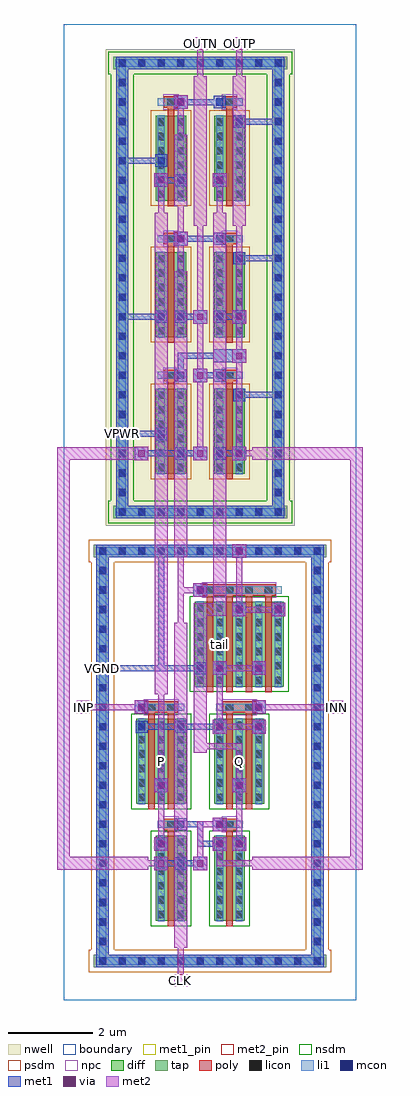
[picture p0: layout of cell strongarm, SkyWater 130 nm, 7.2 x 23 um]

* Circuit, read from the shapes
.subckt strongarm CLK INN INP OUTN OUTP P Q VGND VPWR tail
XM1 P INP tail VGND sky130_fd_pr__nfet_01v8 w=2 l=0.15 m=2
XM2 OUTN OUTP P VGND sky130_fd_pr__nfet_01v8 w=2 l=0.15
XM3 tail CLK VGND VGND sky130_fd_pr__nfet_01v8 w=2 l=0.15 m=4
XM4 Q OUTN OUTP VGND sky130_fd_pr__nfet_01v8 w=2 l=0.15
XM5 Q INN tail VGND sky130_fd_pr__nfet_01v8 w=2 l=0.15 m=2
XM6 OUTN OUTP VPWR VPWR sky130_fd_pr__pfet_01v8 w=2 l=0.15
XM7 OUTN CLK VPWR VPWR sky130_fd_pr__pfet_01v8 w=2 l=0.15
XM8 P CLK VPWR VPWR sky130_fd_pr__pfet_01v8 w=2 l=0.15
XM9 VPWR OUTN OUTP VPWR sky130_fd_pr__pfet_01v8 w=2 l=0.15
XM10 VPWR CLK OUTP VPWR sky130_fd_pr__pfet_01v8 w=2 l=0.15
XM11 VPWR CLK Q VPWR sky130_fd_pr__pfet_01v8 w=2 l=0.15
.ends

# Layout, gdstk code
import gdstk
lib = gdstk.Library(unit=1e-6, precision=1e-09)
def R(c, l, rs):  # rectangles x0, y0, x1, y1
    for r in rs: c.add(gdstk.rectangle(r[:2], r[2:], *l))
def A(c, l, x, y, w, h, nx, ny, dx, dy):  # array of equal rectangles
    R(c, l, [(x+i*dx, y+j*dy, x+i*dx+w, y+j*dy+h) for i in range(nx) for j in range(ny)])
nwell = (64, 20)
diff = (65, 20)
tap = (65, 44)
poly = (66, 20)
licon = (66, 44)
li1 = (67, 20)
mcon = (67, 44)
met1_pin = (68, 16)
met1 = (68, 20)
via = (68, 44)
met2_pin = (69, 16)
met2 = (69, 20)
nsdm = (93, 44)
psdm = (94, 20)
npc = (95, 20)
boundary = (235, 4)

strongarm = lib.new_cell('strongarm')
R(strongarm, nwell, [(0.995,11.175,5.445,22.405)])
A(strongarm, diff, 2.175, 12.4, 0.71, 2, 1, 3, 0, 3.22)
A(strongarm, diff, 3.555, 12.4, 0.71, 2, 1, 3, 0, 3.22)
R(strongarm, diff, [(2.175,1.865,2.885,3.865), (3.555,1.865,4.265,3.865), (1.715,4.625,2.885,6.625), (3.555,4.625,4.725,6.625), (3.095,7.385,5.185,9.385)])
R(strongarm, tap, [(0.715,0.775,6.185,1.065), (0.775,0.775,1.065,10.725), (5.835,0.775,6.125,10.725), (0.715,10.435,6.185,10.725), (1.175,11.355,5.265,11.645), (1.235,11.355,1.525,22.225), (4.915,11.355,5.205,22.225), (1.175,21.935,5.265,22.225)])
A(strongarm, poly, 3.375, 7.255, 0.15, 2.405, 4, 1, 0.46, 0)
A(strongarm, poly, 2.455, 12.27, 0.15, 2.45, 1, 3, 0, 3.22)
A(strongarm, poly, 3.835, 12.27, 0.15, 2.45, 1, 3, 0, 3.22)
A(strongarm, poly, 2.365, 14.585, 0.33, 0.27, 1, 3, 0, 3.22)
A(strongarm, poly, 3.745, 14.585, 0.33, 0.27, 1, 3, 0, 3.22)
R(strongarm, poly, [(2.455,1.735,2.605,4.14), (3.835,1.735,3.985,4.14), (2.365,4.005,2.695,4.275), (3.745,4.005,4.075,4.275), (1.995,4.495,2.145,6.9), (2.455,4.495,2.605,6.9), (3.835,4.495,3.985,6.9), (4.295,4.495,4.445,6.9), (1.905,6.765,2.695,7.035), (3.745,6.765,4.535,7.035), (3.285,9.525,4.995,9.795)])
A(strongarm, licon, 0.835, 0.835, 0.17, 0.17, 12, 2, 0.46, 9.66)
A(strongarm, licon, 0.835, 1.295, 0.17, 0.17, 1, 20, 0, 0.46)
A(strongarm, licon, 5.895, 1.295, 0.17, 0.17, 1, 20, 0, 0.46)
A(strongarm, licon, 2.215, 1.93, 0.17, 0.17, 1, 6, 0, 0.34)
A(strongarm, licon, 2.675, 1.93, 0.17, 0.17, 1, 6, 0, 0.34)
A(strongarm, licon, 3.595, 1.93, 0.17, 0.17, 1, 6, 0, 0.34)
A(strongarm, licon, 4.055, 1.93, 0.17, 0.17, 1, 6, 0, 0.34)
A(strongarm, licon, 1.755, 4.69, 0.17, 0.17, 3, 6, 0.46, 0.34)
A(strongarm, licon, 3.595, 4.69, 0.17, 0.17, 3, 6, 0.46, 0.34)
A(strongarm, licon, 3.135, 7.45, 0.17, 0.17, 5, 6, 0.46, 0.34)
A(strongarm, licon, 3.365, 9.575, 0.17, 0.17, 4, 1, 0.46, 0)
A(strongarm, licon, 1.295, 11.415, 0.17, 0.17, 9, 2, 0.46, 10.58)
A(strongarm, licon, 1.295, 11.875, 0.17, 0.17, 1, 22, 0, 0.46)
A(strongarm, licon, 4.975, 11.875, 0.17, 0.17, 1, 22, 0, 0.46)
A(strongarm, licon, 2.215, 12.465, 0.17, 0.17, 1, 6, 0, 0.34)
A(strongarm, licon, 2.675, 12.465, 0.17, 0.17, 1, 6, 0, 0.34)
A(strongarm, licon, 3.595, 12.465, 0.17, 0.17, 1, 6, 0, 0.34)
A(strongarm, licon, 4.055, 12.465, 0.17, 0.17, 1, 6, 0, 0.34)
A(strongarm, licon, 2.445, 14.635, 0.17, 0.17, 1, 3, 0, 3.22)
A(strongarm, licon, 3.825, 14.635, 0.17, 0.17, 1, 3, 0, 3.22)
A(strongarm, licon, 2.215, 15.685, 0.17, 0.17, 1, 6, 0, 0.34)
A(strongarm, licon, 2.675, 15.685, 0.17, 0.17, 1, 6, 0, 0.34)
A(strongarm, licon, 3.595, 15.685, 0.17, 0.17, 1, 6, 0, 0.34)
A(strongarm, licon, 4.055, 15.685, 0.17, 0.17, 1, 6, 0, 0.34)
A(strongarm, licon, 2.215, 18.905, 0.17, 0.17, 1, 6, 0, 0.34)
A(strongarm, licon, 2.675, 18.905, 0.17, 0.17, 1, 6, 0, 0.34)
A(strongarm, licon, 3.595, 18.905, 0.17, 0.17, 1, 6, 0, 0.34)
A(strongarm, licon, 4.055, 18.905, 0.17, 0.17, 1, 6, 0, 0.34)
R(strongarm, licon, [(2.445,4.055,2.615,4.225), (3.825,4.055,3.995,4.225), (1.985,6.815,2.155,6.985), (2.445,6.815,2.615,6.985), (3.825,6.815,3.995,6.985), (4.285,6.815,4.455,6.985)])
A(strongarm, li1, 1.755, 4.61, 0.17, 2.03, 3, 1, 0.46, 0)
A(strongarm, li1, 3.595, 4.61, 0.17, 2.03, 3, 1, 0.46, 0)
A(strongarm, li1, 3.135, 7.37, 0.17, 2.03, 5, 1, 0.46, 0)
A(strongarm, li1, 2.215, 12.385, 0.17, 2.03, 1, 3, 0, 3.22)
A(strongarm, li1, 2.675, 12.385, 0.17, 2.03, 1, 3, 0, 3.22)
A(strongarm, li1, 3.595, 12.385, 0.17, 2.03, 1, 3, 0, 3.22)
A(strongarm, li1, 4.055, 12.385, 0.17, 2.03, 1, 3, 0, 3.22)
A(strongarm, li1, 2.215, 14.635, 0.63, 0.17, 1, 3, 0, 3.22)
A(strongarm, li1, 3.595, 14.635, 0.63, 0.17, 1, 3, 0, 3.22)
R(strongarm, li1, [(0.755,0.835,6.145,1.005), (0.835,0.835,1.005,10.665), (5.895,0.835,6.065,10.665), (2.215,1.85,2.385,3.88), (2.675,1.85,2.845,3.88), (3.595,1.85,3.765,3.88), (4.055,1.85,4.225,3.88), (2.215,4.055,2.845,4.225), (3.595,4.055,4.225,4.225), (1.755,6.815,2.845,6.985), (3.595,6.815,4.685,6.985), (3.135,9.575,5.145,9.745), (0.755,10.495,6.145,10.665), (1.215,11.415,5.225,11.585), (1.295,11.415,1.465,22.165), (4.975,11.415,5.145,22.165), (1.215,21.995,5.225,22.165)])
A(strongarm, mcon, 0.835, 0.835, 0.17, 0.17, 12, 2, 0.46, 9.66)
A(strongarm, mcon, 0.835, 1.295, 0.17, 0.17, 1, 5, 0, 0.46)
A(strongarm, mcon, 5.895, 1.295, 0.17, 0.17, 1, 8, 0, 0.46)
A(strongarm, mcon, 0.835, 3.595, 0.17, 0.17, 3, 1, 1.38, 0)
A(strongarm, mcon, 0.835, 4.055, 0.17, 0.17, 1, 5, 0, 0.46)
A(strongarm, mcon, 2.215, 4.975, 0.17, 0.17, 3, 1, 1.84, 0)
A(strongarm, mcon, 5.895, 5.435, 0.17, 0.17, 1, 8, 0, 0.46)
A(strongarm, mcon, 0.835, 6.355, 0.17, 0.17, 5, 1, 0.92, 0)
A(strongarm, mcon, 0.835, 6.815, 0.17, 0.17, 1, 8, 0, 0.46)
A(strongarm, mcon, 4.055, 9.115, 0.17, 0.17, 3, 1, 0.92, 0)
A(strongarm, mcon, 1.295, 11.415, 0.17, 0.17, 9, 2, 0.46, 10.58)
A(strongarm, mcon, 1.295, 11.875, 0.17, 0.17, 1, 22, 0, 0.46)
A(strongarm, mcon, 4.975, 11.875, 0.17, 0.17, 1, 22, 0, 0.46)
A(strongarm, mcon, 4.055, 14.175, 0.17, 0.17, 1, 3, 0, 3.22)
R(strongarm, mcon, [(2.675,3.135,2.845,3.305), (4.055,3.595,4.225,3.765), (2.675,4.055,2.845,4.225), (3.595,4.055,3.765,4.225), (1.755,6.815,1.925,6.985), (4.515,6.815,4.685,6.985), (3.135,7.735,3.305,7.905), (3.595,7.735,3.765,7.905), (4.515,7.735,4.685,7.905), (3.135,9.575,3.305,9.745), (5.895,9.575,6.065,9.745), (5.895,10.035,6.065,10.205), (2.675,12.795,2.845,12.965), (3.595,12.795,3.765,12.965), (2.215,13.255,2.385,13.425), (2.675,14.635,2.845,14.805), (3.595,14.635,3.765,14.805), (2.215,16.015,2.385,16.185), (2.675,16.015,2.845,16.185), (3.595,16.015,3.765,16.185), (2.675,17.855,2.845,18.025), (3.595,17.855,3.765,18.025), (2.675,19.235,2.845,19.405), (3.595,19.235,3.765,19.405), (2.215,19.695,2.385,19.865), (2.675,21.075,2.845,21.245), (3.595,21.075,3.765,21.245)])
R(strongarm, met1_pin, [(0.85,7.75,0.99,7.89), (1.31,13.27,1.45,13.41)])
A(strongarm, met1, 1.695, 6.295, 0.29, 0.29, 4, 1, 0.92, 0)
A(strongarm, met1, 3.98, 10.42, 0.32, 0.32, 1, 3, 0, 2.3)
A(strongarm, met1, 3.995, 14.115, 0.29, 0.29, 1, 3, 0, 3.22)
A(strongarm, met1, 4.07, 14.19, 1.06, 0.14, 1, 3, 0, 3.22)
R(strongarm, met1, [(0.775,0.775,6.125,1.065), (0.775,0.775,1.065,10.725), (5.835,0.775,6.125,10.725), (2.14,3.06,2.46,3.38), (3.06,3.06,3.38,3.38), (2.615,3.075,2.905,3.365), (2.23,3.15,2.83,3.29), (2.69,3.15,3.29,3.29), (2.14,3.52,2.46,3.84), (3.52,3.52,3.84,3.84), (3.98,3.52,4.3,3.84), (2.155,3.535,2.445,3.825), (3.535,3.535,3.825,3.825), (3.995,3.535,4.285,3.825), (3.15,3.61,3.75,3.75), (3.15,3.61,3.29,4.21), (3.52,3.98,3.84,4.3), (2.615,3.995,2.905,4.285), (3.535,3.995,3.825,4.285), (2.69,4.07,3.29,4.21), (2.14,4.9,2.46,5.22), (3.98,4.9,4.3,5.22), (2.155,4.915,2.445,5.205), (3.995,4.915,4.285,5.205), (3.52,6.28,3.84,6.6), (4.44,6.28,4.76,6.6), (1.77,6.37,2.83,6.51), (2.69,6.37,3.75,6.51), (1.68,6.74,2,7.06), (4.44,6.74,4.76,7.06), (1.695,6.755,1.985,7.045), (4.455,6.755,4.745,7.045), (3.52,7.66,3.84,7.98), (4.44,7.66,4.76,7.98), (3.075,7.675,3.365,7.965), (3.535,7.675,3.825,7.965), (4.455,7.675,4.745,7.965), (0.85,7.75,0.99,7.89), (0.85,7.75,3.29,7.89), (2.23,7.75,2.37,10.65), (3.98,9.04,4.3,9.36), (4.9,9.04,5.22,9.36), (3.995,9.055,4.285,9.345), (4.915,9.055,5.205,9.345), (3.06,9.5,3.38,9.82), (3.075,9.515,3.365,9.805), (0.775,10.435,6.125,10.725), (2.23,10.51,2.37,10.65), (2.23,10.51,4.21,10.65), (1.235,11.355,5.205,11.645), (1.235,11.355,1.525,22.225), (4.915,11.355,5.205,22.225), (1.68,12.72,2,13.04), (3.06,12.72,3.38,13.04), (2.615,12.735,2.905,13.025), (3.535,12.735,3.825,13.025), (1.77,12.81,2.83,12.95), (2.69,12.81,3.29,12.95), (3.61,12.81,4.21,12.95), (2.155,13.195,2.445,13.485), (1.31,13.27,2.37,13.41), (1.31,13.27,1.45,13.41), (1.31,13.27,1.45,16.17), (4.99,14.19,5.13,17.55), (3.06,14.56,3.38,14.88), (2.615,14.575,2.905,14.865), (3.535,14.575,3.825,14.865), (2.69,14.65,2.83,15.25), (3.15,14.65,3.75,14.79), (3.53,15.03,4.29,15.33), (2.69,15.11,3.75,15.25), (3.06,15.94,3.38,16.26), (3.98,15.94,4.3,16.26), (2.155,15.955,2.445,16.245), (2.615,15.955,2.905,16.245), (3.535,15.955,3.825,16.245), (1.31,16.03,2.37,16.17), (1.31,16.03,1.45,19.85), (2.69,16.03,3.29,16.17), (3.61,16.03,4.21,16.17), (4.99,17.41,5.13,20.77), (2.6,17.78,2.92,18.1), (2.615,17.795,2.905,18.085), (3.535,17.795,3.825,18.085), (2.69,17.87,3.75,18.01), (2.14,19.16,2.46,19.48), (3.52,19.16,3.84,19.48), (2.615,19.175,2.905,19.465), (3.535,19.175,3.825,19.465), (2.23,19.25,2.83,19.39), (2.155,19.635,2.445,19.925), (1.31,19.71,2.37,19.85), (1.31,19.71,1.45,22.15), (4.99,20.63,5.13,22.15), (2.6,21,2.92,21.32), (2.615,21.015,2.905,21.305), (3.535,21.015,3.825,21.305), (2.69,21.09,3.75,21.23), (1.235,21.935,5.205,22.225), (1.31,22.01,1.45,22.15), (1.31,22.01,5.13,22.15)])
A(strongarm, via, 4.065, 10.505, 0.15, 0.15, 1, 3, 0, 2.3)
R(strongarm, via, [(2.225,3.145,2.375,3.295), (3.145,3.145,3.295,3.295), (2.225,3.605,2.375,3.755), (3.605,3.605,3.755,3.755), (4.065,3.605,4.215,3.755), (3.605,4.065,3.755,4.215), (2.225,4.985,2.375,5.135), (4.065,4.985,4.215,5.135), (3.605,6.365,3.755,6.515), (4.525,6.365,4.675,6.515), (1.765,6.825,1.915,6.975), (4.525,6.825,4.675,6.975), (3.605,7.745,3.755,7.895), (4.525,7.745,4.675,7.895), (4.065,9.125,4.215,9.275), (4.985,9.125,5.135,9.275), (3.145,9.585,3.295,9.735), (1.765,12.805,1.915,12.955), (3.145,12.805,3.295,12.955), (3.145,14.645,3.295,14.795), (3.145,16.025,3.295,16.175), (4.065,16.025,4.215,16.175), (2.685,17.865,2.835,18.015), (2.225,19.245,2.375,19.395), (3.605,19.245,3.755,19.395), (2.685,21.085,2.835,21.235)])
R(strongarm, met2_pin, [(2.61,0.31,2.91,0.61), (0.31,6.75,0.61,7.05), (6.29,6.75,6.59,7.05), (3.07,22.39,3.37,22.69), (3.99,22.39,4.29,22.69)])
A(strongarm, met2, 3.98, 10.42, 0.32, 0.32, 1, 3, 0, 2.3)
R(strongarm, met2, [(2.61,0.31,2.91,0.61), (2.69,0.39,2.83,1.45), (2.69,0.39,2.83,0.53), (2.61,1.23,2.91,8.89), (2.14,3.06,2.46,3.38), (3.06,3.06,3.38,3.38), (-0.15,3.07,0.15,13.03), (-0.15,3.07,1.99,3.37), (4.45,3.07,7.05,3.37), (6.75,3.07,7.05,13.03), (1.77,3.15,2.37,3.29), (3.15,3.15,3.29,4.21), (3.61,3.15,4.67,3.29), (3.61,3.15,3.75,3.75), (2.14,3.52,2.46,3.84), (3.52,3.52,3.84,3.84), (3.98,3.52,4.3,3.84), (2.23,3.61,2.37,5.13), (4.07,3.61,4.21,5.13), (3.52,3.98,3.84,4.3), (3.15,4.07,3.75,4.21), (2.14,4.9,2.46,5.22), (3.98,4.9,4.3,5.22), (2.23,4.99,2.37,7.43), (4.07,4.99,4.21,6.05), (3.07,5.83,3.37,9.35), (3.15,5.91,4.21,6.05), (3.52,6.28,3.84,6.6), (4.44,6.28,4.76,6.6), (3.61,6.37,3.75,7.89), (3.61,6.37,4.67,6.51), (1.68,6.74,2,7.06), (4.44,6.74,4.76,7.06), (0.31,6.75,0.61,7.05), (6.29,6.75,6.59,7.05), (0.39,6.83,0.53,6.97), (0.39,6.83,1.91,6.97), (4.53,6.83,6.51,6.97), (6.37,6.83,6.51,6.97), (2.15,7.21,2.45,18.55), (3.52,7.66,3.84,7.98), (4.44,7.66,4.76,7.98), (3.61,7.75,4.67,7.89), (2.69,8.67,2.83,9.73), (3.98,9.04,4.3,9.36), (4.9,9.04,5.22,9.36), (3.07,9.05,3.83,9.35), (3.53,9.05,3.83,18.55), (4.07,9.13,4.21,10.65), (4.07,9.13,5.13,9.27), (3.06,9.5,3.38,9.82), (2.69,9.59,2.83,10.65), (2.69,9.59,3.29,9.73), (2.61,10.43,2.91,17.17), (1.68,12.72,2,13.04), (3.06,12.72,3.38,13.04), (-0.15,12.73,1.99,13.03), (4.45,12.73,7.05,13.03), (3.15,12.81,3.29,14.79), (4.07,12.81,4.67,12.95), (4.07,12.81,4.21,16.17), (3.06,14.56,3.38,14.88), (3.15,14.65,3.29,16.17), (3.06,15.94,3.38,16.26), (3.98,15.94,4.3,16.26), (3.15,16.03,3.29,18.47), (4.07,16.03,4.21,18.47), (2.69,16.95,2.83,18.01), (2.6,17.78,2.92,18.1), (2.69,17.87,2.83,18.93), (3.07,18.25,3.37,21.77), (3.99,18.25,4.29,21.77), (2.23,18.33,2.37,19.39), (3.61,18.33,3.75,19.39), (2.61,18.71,2.91,20.39), (2.14,19.16,2.46,19.48), (3.52,19.16,3.84,19.48), (2.69,20.17,2.83,21.23), (2.6,21,2.92,21.32), (3.15,21.55,3.29,22.61), (4.07,21.55,4.21,22.61), (3.07,22.39,3.37,22.69), (3.99,22.39,4.29,22.69), (3.15,22.47,3.29,22.61), (4.07,22.47,4.21,22.61)])
R(strongarm, nsdm, [(2.05,1.74,3.01,3.99), (3.43,1.74,4.39,3.99), (1.59,4.5,3.01,6.75), (3.43,4.5,4.85,6.75), (2.97,7.26,5.31,9.51), (1.05,11.23,5.39,11.77), (1.11,11.77,1.65,21.81), (4.79,11.77,5.33,21.81), (1.05,21.81,5.39,22.35)])
A(strongarm, psdm, 2.05, 12.275, 0.96, 2.25, 1, 3, 0, 3.22)
A(strongarm, psdm, 3.43, 12.275, 0.96, 2.25, 1, 3, 0, 3.22)
R(strongarm, psdm, [(0.59,0.65,6.31,1.19), (0.65,1.19,1.19,10.31), (5.71,1.19,6.25,10.31), (0.59,10.31,6.31,10.85)])
A(strongarm, npc, 2.345, 14.535, 0.37, 0.37, 1, 3, 0, 3.22)
A(strongarm, npc, 3.725, 14.535, 0.37, 0.37, 1, 3, 0, 3.22)
R(strongarm, npc, [(2.345,3.955,2.715,4.325), (3.725,3.955,4.095,4.325), (1.885,6.715,2.715,7.085), (3.725,6.715,4.555,7.085), (3.265,9.475,5.015,9.845)])
R(strongarm, boundary, [(0,0,6.9,23)])
strongarm.add(gdstk.Label('tail', (3.68,8.385), layer=67, texttype=5))
strongarm.add(gdstk.Label('P', (2.3,5.625), layer=67, texttype=5))
strongarm.add(gdstk.Label('Q', (4.14,5.625), layer=67, texttype=5))
strongarm.add(gdstk.Label('VPWR', (1.38,13.34), layer=68, texttype=5))
strongarm.add(gdstk.Label('VGND', (0.92,7.82), layer=68, texttype=5))
strongarm.add(gdstk.Label('CLK', (2.76,0.46), layer=69, texttype=5))
strongarm.add(gdstk.Label('INP', (0.46,6.9), layer=69, texttype=5))
strongarm.add(gdstk.Label('INN', (6.44,6.9), layer=69, texttype=5))
strongarm.add(gdstk.Label('OUTP', (4.14,22.54), layer=69, texttype=5))
strongarm.add(gdstk.Label('OUTN', (3.22,22.54), layer=69, texttype=5))
strongarm.add(gdstk.Label('VPWR', (1.38,13.34), layer=68, texttype=16))
strongarm.add(gdstk.Label('VGND', (0.92,7.82), layer=68, texttype=16))
strongarm.add(gdstk.Label('CLK', (2.76,0.46), layer=69, texttype=16))
strongarm.add(gdstk.Label('INP', (0.46,6.9), layer=69, texttype=16))
strongarm.add(gdstk.Label('INN', (6.44,6.9), layer=69, texttype=16))
strongarm.add(gdstk.Label('OUTP', (4.14,22.54), layer=69, texttype=16))
strongarm.add(gdstk.Label('OUTN', (3.22,22.54), layer=69, texttype=16))

lib.write_gds('strongarm.gds')
